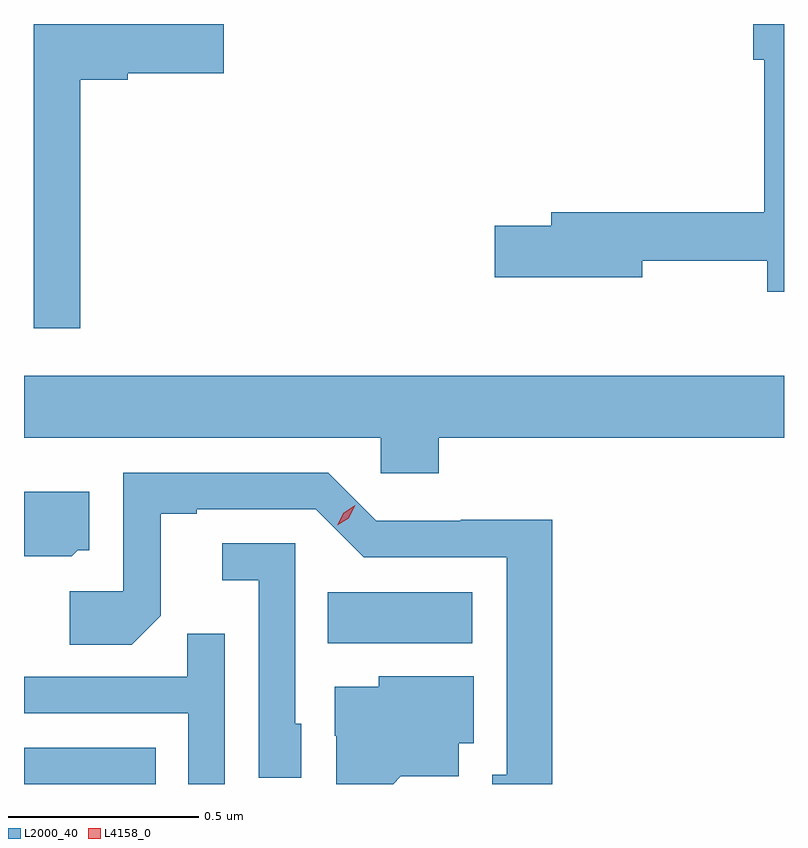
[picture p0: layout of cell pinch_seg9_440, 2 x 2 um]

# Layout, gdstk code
import gdstk
lib = gdstk.Library(unit=1e-6, precision=1e-09)
def R(c, l, rs):  # rectangles x0, y0, x1, y1
    for r in rs: c.add(gdstk.rectangle(r[:2], r[2:], *l))
def P(c, l, *ps):  # polygons
    for p in ps: c.add(gdstk.Polygon(p, *l))
L2000_40 = (2000, 40)
L4158_0 = (4158, 0)

pinch_seg9_440 = lib.new_cell('pinch_seg9_440')
R(pinch_seg9_440, L2000_40, [(226.923,1228.809,227.27,1228.905), (227.722,1229.18,228.103,1229.314)])
P(pinch_seg9_440, L2000_40, [(228.923,1230.809),(228.842,1230.809),(228.842,1230.715),(228.871,1230.715),(228.871,1230.314),(228.311,1230.314),(228.311,1230.278),(228.162,1230.278),(228.162,1230.143),(228.55,1230.143),(228.55,1230.186),(228.879,1230.186),(228.879,1230.105),(228.923,1230.105)],
  [(227.071,1230.662),(227.196,1230.662),(227.196,1230.68),(227.449,1230.68),(227.449,1230.809),(226.949,1230.809),(226.949,1230.009),(227.071,1230.009)],
  [(228.014,1229.72),(228.923,1229.72),(228.923,1229.884),(226.923,1229.884),(226.923,1229.72),(227.862,1229.72),(227.862,1229.627),(228.014,1229.627)],
  [(228.313,1229.504),(228.072,1229.504),(228.072,1229.502),(227.85,1229.502),(227.724,1229.628),(227.184,1229.628),(227.184,1229.316),(227.043,1229.316),(227.043,1229.176),(227.207,1229.176),(227.283,1229.252),(227.283,1229.52),(227.377,1229.52),(227.377,1229.532),(227.691,1229.532),(227.817,1229.406),(228.194,1229.406),(228.194,1228.833),(228.155,1228.833),(228.155,1228.809),(228.313,1228.809)],
  [(227.064,1229.424),(227.095,1229.424),(227.095,1229.578),(226.923,1229.578),(226.923,1229.408),(227.048,1229.408)],
  [(227.652,1228.968),(227.637,1228.968),(227.637,1229.442),(227.445,1229.442),(227.445,1229.345),(227.541,1229.345),(227.541,1228.825),(227.652,1228.825)],
  [(227.451,1229.204),(227.353,1229.204),(227.353,1229.091),(226.923,1229.091),(226.923,1228.995),(227.355,1228.995),(227.355,1228.809),(227.451,1228.809)],
  [(227.915,1228.829),(228.067,1228.829),(228.067,1228.916),(228.106,1228.916),(228.106,1229.092),(227.856,1229.092),(227.856,1229.065),(227.741,1229.065),(227.741,1228.936),(227.745,1228.936),(227.745,1228.809),(227.895,1228.809)])
P(pinch_seg9_440, L4158_0, [(227.747,1229.49),(227.747,1229.49),(227.764,1229.523),(227.795,1229.542),(227.795,1229.542),(227.795,1229.542),(227.778,1229.509),(227.747,1229.49)])

lib.write_gds('pinch_seg9_440.gds')
